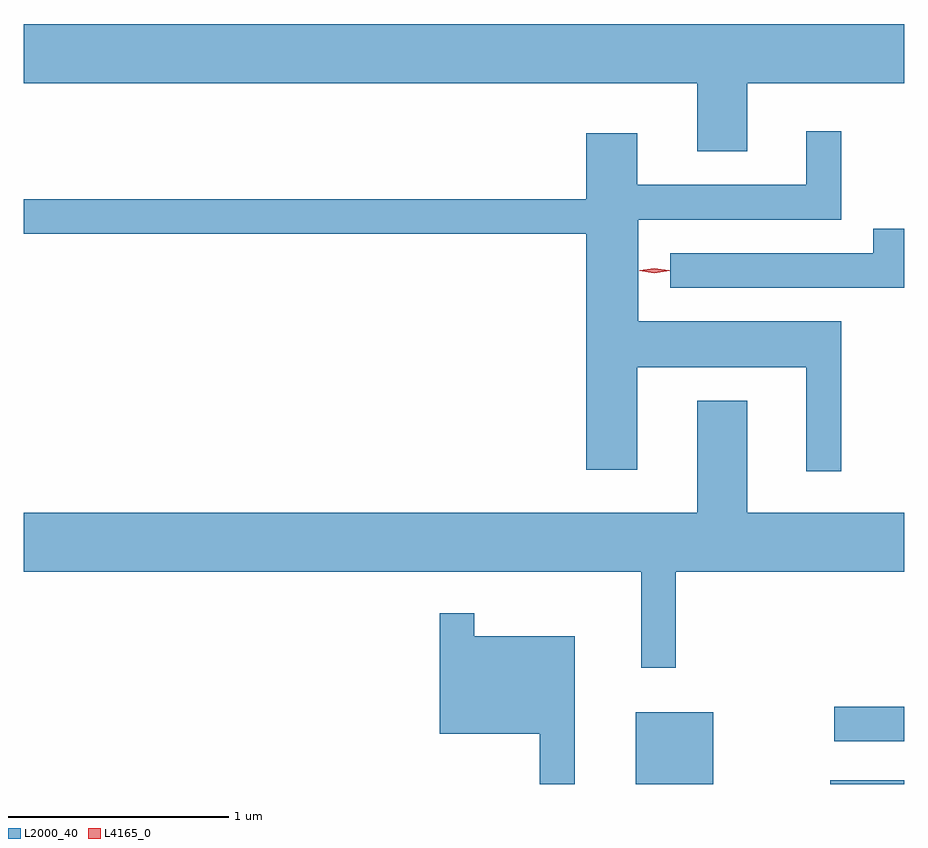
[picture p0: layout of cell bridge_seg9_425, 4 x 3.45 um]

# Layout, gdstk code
import gdstk
lib = gdstk.Library(unit=1e-6, precision=1e-09)
def R(c, l, rs):  # rectangles x0, y0, x1, y1
    for r in rs: c.add(gdstk.rectangle(r[:2], r[2:], *l))
def P(c, l, *ps):  # polygons
    for p in ps: c.add(gdstk.Polygon(p, *l))
L2000_40 = (2000, 40)
L4165_0 = (4165, 0)

bridge_seg9_425 = lib.new_cell('bridge_seg9_425')
R(bridge_seg9_425, L2000_40, [(349.831,2055.233,350.184,2055.559), (350.716,2055.233,351.052,2055.249), (350.733,2055.426,351.052,2055.584)])
P(bridge_seg9_425, L2000_40, [(350.339,2058.416),(351.052,2058.416),(351.052,2058.684),(347.052,2058.684),(347.052,2058.416),(350.111,2058.416),(350.111,2058.106),(350.339,2058.106)],
  [(350.764,2057.334),(349.844,2057.334),(349.844,2057.796),(350.764,2057.796),(350.764,2058.198),(350.606,2058.198),(350.606,2057.954),(349.839,2057.954),(349.839,2058.189),(349.606,2058.189),(349.606,2057.889),(347.052,2057.889),(347.052,2057.731),(349.606,2057.731),(349.606,2056.661),(349.839,2056.661),(349.839,2057.126),(350.606,2057.126),(350.606,2056.653),(350.764,2056.653)],
  [(351.052,2057.754),(350.911,2057.754),(350.911,2057.644),(349.988,2057.644),(349.988,2057.486),(351.052,2057.486)],
  [(350.014,2056.196),(351.052,2056.196),(351.052,2056.464),(350.339,2056.464),(350.339,2056.974),(350.111,2056.974),(350.111,2056.464),(347.052,2056.464),(347.052,2056.196),(349.856,2056.196),(349.856,2055.762),(350.014,2055.762)],
  [(349.554,2055.904),(349.099,2055.904),(349.099,2056.008),(348.941,2056.008),(348.941,2055.461),(349.396,2055.461),(349.396,2055.233),(349.554,2055.233)])
P(bridge_seg9_425, L4165_0, [(349.917,2057.553),(349.848,2057.563),(349.847,2057.563),(349.848,2057.564),(349.917,2057.573),(349.986,2057.564),(349.986,2057.563),(349.986,2057.563)],
  [(349.917,2057.555),(349.851,2057.564),(349.851,2057.565),(349.851,2057.566),(349.917,2057.575),(349.982,2057.566),(349.983,2057.565),(349.982,2057.564)])

lib.write_gds('bridge_seg9_425.gds')
